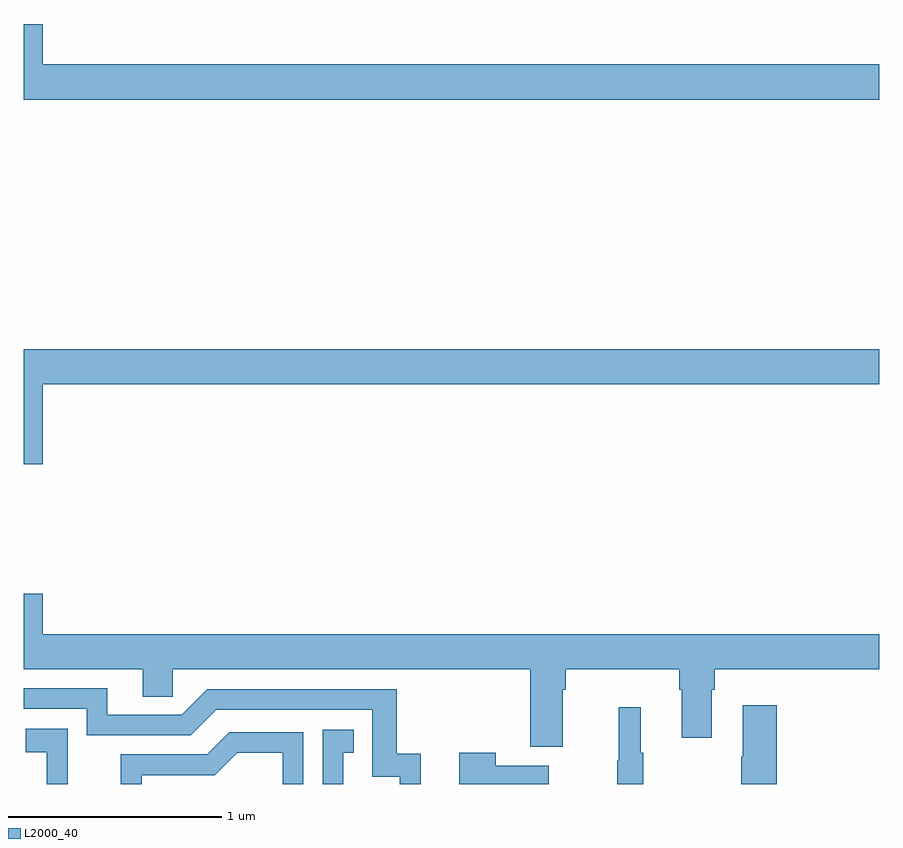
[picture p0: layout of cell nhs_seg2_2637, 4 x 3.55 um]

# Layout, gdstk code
import gdstk
lib = gdstk.Library(unit=1e-6, precision=1e-09)
def P(c, l, *ps):  # polygons
    for p in ps: c.add(gdstk.Polygon(p, *l))
L2000_40 = (2000, 40)

nhs_seg2_2637 = lib.new_cell('nhs_seg2_2637')
P(nhs_seg2_2637, L2000_40, [(253,617.164),(249.088,617.164),(249.088,617.353),(249,617.353),(249,617),(253,617)],
  [(249.088,615.668),(253,615.668),(253,615.832),(249,615.832),(249,615.294),(249.088,615.294)],
  [(251.521,614.24),(251.534,614.24),(251.534,614.336),(252.065,614.336),(252.065,614.24),(252.077,614.24),(252.077,614.016),(252.217,614.016),(252.217,614.24),(252.23,614.24),(252.23,614.336),(253,614.336),(253,614.5),(249.088,614.5),(249.088,614.689),(249,614.689),(249,614.336),(249.557,614.336),(249.557,614.209),(249.696,614.209),(249.696,614.336),(251.369,614.336),(251.369,613.974),(251.521,613.974)],
  [(250.856,613.942),(250.745,613.942),(250.745,614.244),(249.858,614.244),(249.738,614.124),(249.391,614.124),(249.391,614.247),(249,614.247),(249,614.151),(249.294,614.151),(249.294,614.028),(249.78,614.028),(249.9,614.148),(250.629,614.148),(250.629,613.833),(250.758,613.833),(250.758,613.8),(250.856,613.8)],
  [(252.521,614.167),(252.362,614.167),(252.362,613.928),(252.355,613.928),(252.355,613.8),(252.521,613.8)],
  [(251.896,613.945),(251.885,613.945),(251.885,614.158),(251.782,614.158),(251.782,613.908),(251.775,613.908),(251.775,613.8),(251.896,613.8)],
  [(249.206,613.853),(249.207,613.853),(249.207,614.059),(249.009,614.059),(249.009,613.949),(249.107,613.949),(249.107,613.8),(249.206,613.8)],
  [(250.495,613.947),(250.544,613.947),(250.544,614.053),(250.398,614.053),(250.398,613.8),(250.495,613.8)],
  [(249.552,613.842),(249.894,613.842),(249.998,613.946),(250.212,613.946),(250.212,613.8),(250.308,613.8),(250.308,614.043),(249.962,614.043),(249.857,613.938),(249.454,613.938),(249.454,613.8),(249.552,613.8)],
  [(251.455,613.885),(251.207,613.885),(251.207,613.945),(251.036,613.945),(251.036,613.8),(251.455,613.8)])

lib.write_gds('nhs_seg2_2637.gds')
